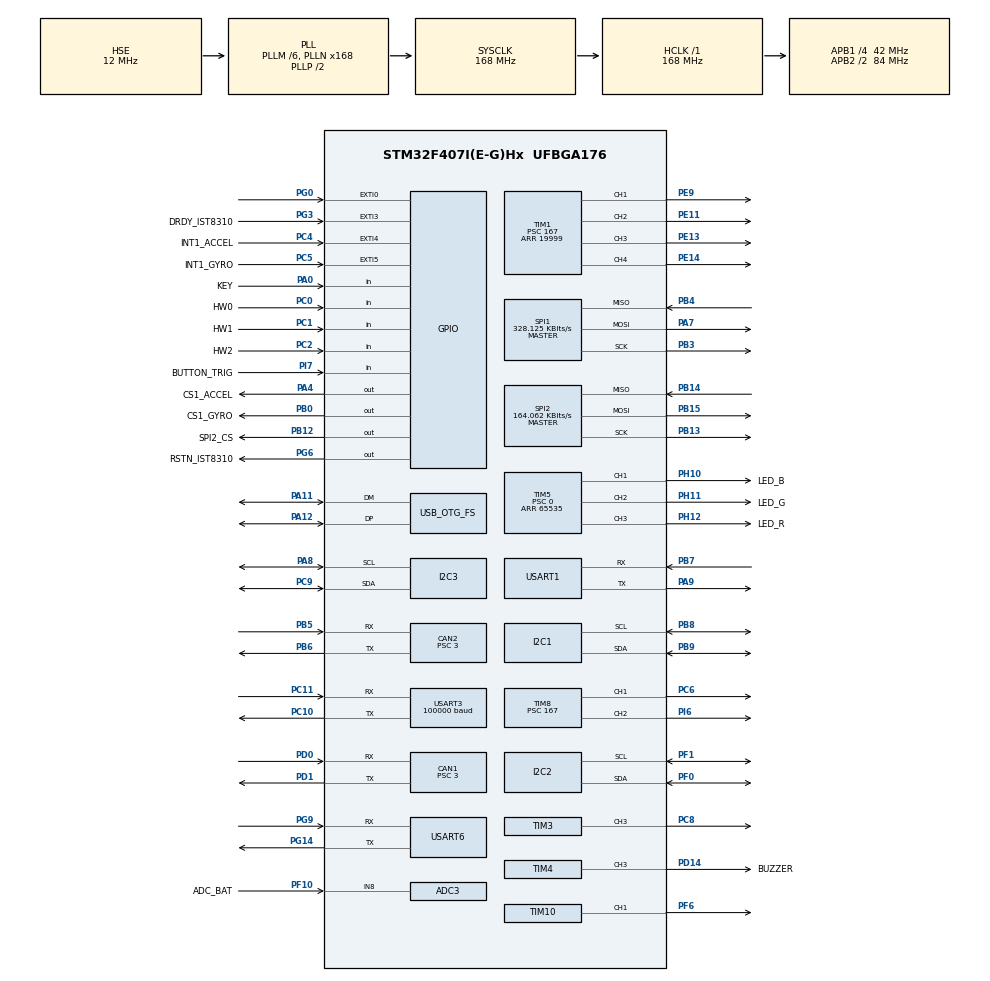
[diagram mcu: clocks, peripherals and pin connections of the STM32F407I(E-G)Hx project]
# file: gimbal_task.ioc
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ADC1.Channel-0\#ChannelRegularConversion=ADC_CHANNEL_TEMPSENSOR
ADC1.ClockPrescaler=ADC_CLOCK_SYNC_PCLK_DIV6
ADC1.NbrOfConversionFlag=1
ADC1.Rank-0\#ChannelRegularConversion=1
ADC1.SamplingTime-0\#ChannelRegularConversion=ADC_SAMPLETIME_3CYCLES
ADC1.master=1
ADC3.Channel-0\#ChannelRegularConversion=ADC_CHANNEL_8
ADC3.ClockPrescaler=ADC_CLOCK_SYNC_PCLK_DIV6
ADC3.NbrOfConversionFlag=1
ADC3.Rank-0\#ChannelRegularConversion=1
ADC3.SamplingTime-0\#ChannelRegularConversion=ADC_SAMPLETIME_3CYCLES
CAN1.BS1=CAN_BS1_10TQ
CAN1.BS2=CAN_BS2_3TQ
CAN1.CalculateTimeQuantum=71.42857142857143
CAN1.Prescaler=3
CAN2.BS1=CAN_BS1_10TQ
CAN2.BS2=CAN_BS2_3TQ
CAN2.CalculateTimeQuantum=71.42857142857143
CAN2.Prescaler=3
Dma.I2C2_TX.2.Direction=DMA_MEMORY_TO_PERIPH
Dma.I2C2_TX.2.FIFOMode=DMA_FIFOMODE_DISABLE
Dma.I2C2_TX.2.Instance=DMA1_Stream7
Dma.I2C2_TX.2.MemDataAlignment=DMA_MDATAALIGN_BYTE
Dma.I2C2_TX.2.MemInc=DMA_MINC_ENABLE
Dma.I2C2_TX.2.Mode=DMA_NORMAL
Dma.I2C2_TX.2.PeriphDataAlignment=DMA_PDATAALIGN_BYTE
Dma.I2C2_TX.2.PeriphInc=DMA_PINC_DISABLE
Dma.I2C2_TX.2.Priority=DMA_PRIORITY_HIGH
Dma.Request0=SPI1_RX
Dma.Request1=SPI1_TX
Dma.Request2=I2C2_TX
Dma.Request3=USART3_RX
Dma.Request4=USART6_RX
Dma.Request5=USART6_TX
Dma.Request6=USART1_TX
Dma.SPI1_RX.0.Direction=DMA_PERIPH_TO_MEMORY
Dma.SPI1_RX.0.FIFOMode=DMA_FIFOMODE_DISABLE
Dma.SPI1_RX.0.Instance=DMA2_Stream2
Dma.SPI1_RX.0.MemDataAlignment=DMA_MDATAALIGN_BYTE
Dma.SPI1_RX.0.MemInc=DMA_MINC_ENABLE
Dma.SPI1_RX.0.Mode=DMA_NORMAL
Dma.SPI1_RX.0.PeriphDataAlignment=DMA_PDATAALIGN_BYTE
Dma.SPI1_RX.0.PeriphInc=DMA_PINC_DISABLE
Dma.SPI1_RX.0.Priority=DMA_PRIORITY_VERY_HIGH
Dma.SPI1_TX.1.Direction=DMA_MEMORY_TO_PERIPH
Dma.SPI1_TX.1.FIFOMode=DMA_FIFOMODE_DISABLE
Dma.SPI1_TX.1.Instance=DMA2_Stream3
Dma.SPI1_TX.1.MemDataAlignment=DMA_MDATAALIGN_BYTE
Dma.SPI1_TX.1.MemInc=DMA_MINC_ENABLE
Dma.SPI1_TX.1.Mode=DMA_NORMAL
Dma.SPI1_TX.1.PeriphDataAlignment=DMA_PDATAALIGN_BYTE
Dma.SPI1_TX.1.PeriphInc=DMA_PINC_DISABLE
Dma.SPI1_TX.1.Priority=DMA_PRIORITY_HIGH
Dma.USART1_TX.6.Direction=DMA_MEMORY_TO_PERIPH
Dma.USART1_TX.6.FIFOMode=DMA_FIFOMODE_DISABLE
Dma.USART1_TX.6.Instance=DMA2_Stream7
Dma.USART1_TX.6.MemDataAlignment=DMA_MDATAALIGN_BYTE
Dma.USART1_TX.6.MemInc=DMA_MINC_ENABLE
Dma.USART1_TX.6.Mode=DMA_NORMAL
Dma.USART1_TX.6.PeriphDataAlignment=DMA_PDATAALIGN_BYTE
Dma.USART1_TX.6.PeriphInc=DMA_PINC_DISABLE
Dma.USART1_TX.6.Priority=DMA_PRIORITY_MEDIUM
Dma.USART3_RX.3.Direction=DMA_PERIPH_TO_MEMORY
Dma.USART3_RX.3.FIFOMode=DMA_FIFOMODE_DISABLE
Dma.USART3_RX.3.Instance=DMA1_Stream1
Dma.USART3_RX.3.MemDataAlignment=DMA_MDATAALIGN_BYTE
Dma.USART3_RX.3.MemInc=DMA_MINC_ENABLE
Dma.USART3_RX.3.Mode=DMA_NORMAL
Dma.USART3_RX.3.PeriphDataAlignment=DMA_PDATAALIGN_BYTE
Dma.USART3_RX.3.PeriphInc=DMA_PINC_DISABLE
Dma.USART3_RX.3.Priority=DMA_PRIORITY_HIGH
Dma.USART6_RX.4.Direction=DMA_PERIPH_TO_MEMORY
Dma.USART6_RX.4.FIFOMode=DMA_FIFOMODE_DISABLE
Dma.USART6_RX.4.Instance=DMA2_Stream1
Dma.USART6_RX.4.MemDataAlignment=DMA_MDATAALIGN_BYTE
Dma.USART6_RX.4.MemInc=DMA_MINC_ENABLE
Dma.USART6_RX.4.Mode=DMA_NORMAL
Dma.USART6_RX.4.PeriphDataAlignment=DMA_PDATAALIGN_BYTE
Dma.USART6_RX.4.PeriphInc=DMA_PINC_DISABLE
Dma.USART6_RX.4.Priority=DMA_PRIORITY_HIGH
Dma.USART6_TX.5.Direction=DMA_MEMORY_TO_PERIPH
Dma.USART6_TX.5.FIFOMode=DMA_FIFOMODE_DISABLE
Dma.USART6_TX.5.Instance=DMA2_Stream6
Dma.USART6_TX.5.MemDataAlignment=DMA_MDATAALIGN_BYTE
Dma.USART6_TX.5.MemInc=DMA_MINC_ENABLE
Dma.USART6_TX.5.Mode=DMA_NORMAL
Dma.USART6_TX.5.PeriphDataAlignment=DMA_PDATAALIGN_BYTE
Dma.USART6_TX.5.PeriphInc=DMA_PINC_DISABLE
Dma.USART6_TX.5.Priority=DMA_PRIORITY_MEDIUM
FREERTOS.INCLUDE_eTaskGetState=1
FREERTOS.INCLUDE_pcTaskGetTaskName=1
FREERTOS.INCLUDE_uxTaskGetStackHighWaterMark=1
FREERTOS.INCLUDE_vTaskCleanUpResources=1
FREERTOS.INCLUDE_vTaskDelayUntil=1
FREERTOS.INCLUDE_xEventGroupSetBitFromISR=1
FREERTOS.INCLUDE_xQueueGetMutexHolder=1
FREERTOS.INCLUDE_xSemaphoreGetMutexHolder=1
FREERTOS.INCLUDE_xTaskAbortDelay=1
FREERTOS.INCLUDE_xTaskGetCurrentTaskHandle=1
FREERTOS.INCLUDE_xTaskGetHandle=1
FREERTOS.INCLUDE_xTimerPendFunctionCall=1
FREERTOS.Tasks01=test,24,128,test_task,As weak,NULL,Dynamic,NULL,NULL
FREERTOS.configTOTAL_HEAP_SIZE=24576
I2C1.I2C_Mode=I2C_Fast
I2C2.I2C_Mode=I2C_Fast
I2C3.I2C_Mode=I2C_Fast
Mcu.Family=STM32F4
Mcu.Name=STM32F407I(E-G)Hx
Mcu.Package=UFBGA176
NVIC.CAN1_RX0_IRQn=true\:6\:0\:true\:false\:true\:true\:true\:true\:true
NVIC.CAN2_RX0_IRQn=true\:6\:0\:true\:false\:true\:true\:true\:true\:true
NVIC.DMA1_Stream1_IRQn=true\:5\:0\:true\:false\:false\:true\:false\:false\:true
NVIC.DMA1_Stream7_IRQn=true\:5\:0\:true\:false\:false\:true\:false\:true\:true
NVIC.DMA2_Stream1_IRQn=true\:5\:0\:true\:false\:true\:true\:false\:true\:true
NVIC.DMA2_Stream2_IRQn=true\:5\:0\:true\:false\:false\:true\:false\:true\:true
NVIC.DMA2_Stream3_IRQn=true\:5\:0\:true\:false\:false\:true\:false\:true\:true
NVIC.DMA2_Stream6_IRQn=true\:5\:0\:true\:false\:true\:true\:false\:true\:true
NVIC.DMA2_Stream7_IRQn=true\:5\:0\:true\:false\:true\:true\:false\:true\:true
NVIC.EXTI0_IRQn=true\:6\:0\:true\:false\:true\:true\:true\:true\:true
NVIC.EXTI3_IRQn=true\:5\:0\:true\:false\:true\:true\:true\:true\:true
NVIC.EXTI4_IRQn=true\:5\:0\:true\:false\:true\:true\:true\:true\:true
NVIC.EXTI9_5_IRQn=true\:5\:0\:true\:false\:true\:true\:true\:true\:true
NVIC.OTG_FS_IRQn=true\:5\:0\:false\:false\:true\:true\:false\:true\:true
NVIC.PriorityGroup=NVIC_PRIORITYGROUP_4
NVIC.TIM2_IRQn=true\:5\:0\:false\:false\:true\:true\:true\:true\:true
NVIC.USART1_IRQn=true\:5\:0\:false\:false\:true\:true\:true\:true\:true
NVIC.USART3_IRQn=true\:4\:0\:true\:false\:false\:false\:true\:true\:true
NVIC.USART6_IRQn=true\:5\:0\:true\:false\:false\:true\:true\:true\:true
PA0-WKUP.GPIO_Label=KEY
PA0-WKUP.GPIO_PuPd=GPIO_PULLUP
PA0-WKUP.Signal=GPIO_Input
PA11.Mode=Device_Only
PA11.Signal=USB_OTG_FS_DM
PA12.Mode=Device_Only
PA12.Signal=USB_OTG_FS_DP
PA13.Mode=Serial_Wire
PA13.Signal=SYS_JTMS-SWDIO
PA14.Mode=Serial_Wire
PA14.Signal=SYS_JTCK-SWCLK
PA4.GPIO_Label=CS1_ACCEL
PA4.GPIO_PuPd=GPIO_PULLUP
PA4.GPIO_Speed=GPIO_SPEED_FREQ_HIGH
PA4.PinState=GPIO_PIN_SET
PA4.Signal=GPIO_Output
PA7.GPIO_PuPd=GPIO_PULLUP
PA7.Mode=Full_Duplex_Master
PA7.Signal=SPI1_MOSI
PA8.Mode=I2C
PA8.Signal=I2C3_SCL
PA9.Mode=Asynchronous
PA9.Signal=USART1_TX
PB0.GPIO_Label=CS1_GYRO
PB0.GPIO_PuPd=GPIO_PULLUP
PB0.GPIO_Speed=GPIO_SPEED_FREQ_HIGH
PB0.PinState=GPIO_PIN_SET
PB0.Signal=GPIO_Output
PB12.GPIO_Label=SPI2_CS
PB12.GPIO_PuPd=GPIO_PULLUP
PB12.GPIO_Speed=GPIO_SPEED_FREQ_MEDIUM
PB12.PinState=GPIO_PIN_SET
PB12.Signal=GPIO_Output
PB13.GPIO_PuPd=GPIO_PULLUP
PB13.Mode=Full_Duplex_Master
PB13.Signal=SPI2_SCK
PB14.GPIO_PuPd=GPIO_PULLUP
PB14.Mode=Full_Duplex_Master
PB14.Signal=SPI2_MISO
PB15.GPIO_PuPd=GPIO_PULLUP
PB15.Mode=Full_Duplex_Master
PB15.Signal=SPI2_MOSI
PB3.GPIO_PuPd=GPIO_PULLUP
PB3.Mode=Full_Duplex_Master
PB3.Signal=SPI1_SCK
PB4.GPIO_PuPd=GPIO_PULLUP
PB4.Mode=Full_Duplex_Master
PB4.Signal=SPI1_MISO
PB5.Mode=Slave
PB5.Signal=CAN2_RX
PB6.Mode=Slave
PB6.Signal=CAN2_TX
PB7.Mode=Asynchronous
PB7.Signal=USART1_RX
PB8.Mode=I2C
PB8.Signal=I2C1_SCL
PB9.Mode=I2C
PB9.Signal=I2C1_SDA
PC0.GPIO_Label=HW0
PC0.Signal=GPIO_Input
PC1.GPIO_Label=HW1
PC1.Signal=GPIO_Input
PC10.Mode=Asynchronous
PC10.Signal=USART3_TX
PC11.Mode=Asynchronous
PC11.Signal=USART3_RX
PC2.GPIO_Label=HW2
PC2.Signal=GPIO_Input
PC4.GPIO_Label=INT1_ACCEL
PC4.GPIO_ModeDefaultEXTI=GPIO_MODE_IT_FALLING
PC4.GPIO_PuPd=GPIO_PULLUP
PC4.Signal=GPXTI4
PC5.GPIO_Label=INT1_GYRO
PC5.GPIO_ModeDefaultEXTI=GPIO_MODE_IT_FALLING
PC5.GPIO_PuPd=GPIO_PULLUP
PC5.Signal=GPXTI5
PC6.GPIO_PuPd=GPIO_PULLUP
PC6.GPIO_Speed=GPIO_SPEED_FREQ_HIGH
PC6.Signal=S_TIM8_CH1
PC8.GPIO_PuPd=GPIO_PULLUP
PC8.GPIO_Speed=GPIO_SPEED_FREQ_HIGH
PC8.Signal=S_TIM3_CH3
PC9.Mode=I2C
PC9.Signal=I2C3_SDA
PD0.Mode=Master
PD0.Signal=CAN1_RX
PD1.Mode=Master
PD1.Signal=CAN1_TX
PD14.GPIO_Label=BUZZER
PD14.GPIO_PuPd=GPIO_PULLUP
PD14.GPIO_Speed=GPIO_SPEED_FREQ_VERY_HIGH
PD14.Signal=S_TIM4_CH3
PE11.GPIO_PuPd=GPIO_PULLUP
PE11.GPIO_Speed=GPIO_SPEED_FREQ_HIGH
PE11.Signal=S_TIM1_CH2
PE13.GPIO_PuPd=GPIO_PULLUP
PE13.GPIO_Speed=GPIO_SPEED_FREQ_HIGH
PE13.Signal=S_TIM1_CH3
PE14.GPIO_PuPd=GPIO_PULLUP
PE14.GPIO_Speed=GPIO_SPEED_FREQ_HIGH
PE14.Signal=S_TIM1_CH4
PE9.GPIO_PuPd=GPIO_PULLUP
PE9.GPIO_Speed=GPIO_SPEED_FREQ_HIGH
PE9.Signal=S_TIM1_CH1
PF0.Mode=I2C
PF0.Signal=I2C2_SDA
PF1.Mode=I2C
PF1.Signal=I2C2_SCL
PF10.GPIO_Label=ADC_BAT
PF10.Mode=IN8
PF10.Signal=ADC3_IN8
PF6.GPIO_PuPd=GPIO_PULLUP
PF6.GPIO_Speed=GPIO_SPEED_FREQ_HIGH
PF6.Signal=S_TIM10_CH1
PG0.GPIO_ModeDefaultEXTI=GPIO_MODE_IT_FALLING
PG0.GPIO_PuPd=GPIO_PULLUP
PG0.Signal=GPXTI0
PG14.Mode=Asynchronous
PG14.Signal=USART6_TX
PG3.GPIO_Label=DRDY_IST8310
PG3.GPIO_ModeDefaultEXTI=GPIO_MODE_IT_FALLING
PG3.GPIO_PuPd=GPIO_PULLUP
PG3.Signal=GPXTI3
PG6.GPIO_Label=RSTN_IST8310
PG6.GPIO_PuPd=GPIO_PULLUP
PG6.GPIO_Speed=GPIO_SPEED_FREQ_MEDIUM
PG6.PinState=GPIO_PIN_SET
PG6.Signal=GPIO_Output
PG9.Mode=Asynchronous
PG9.Signal=USART6_RX
PH0-OSC_IN.Mode=HSE-External-Oscillator
PH0-OSC_IN.Signal=RCC_OSC_IN
PH1-OSC_OUT.Mode=HSE-External-Oscillator
PH1-OSC_OUT.Signal=RCC_OSC_OUT
PH10.GPIO_Label=LED_B
PH10.GPIO_PuPd=GPIO_PULLUP
PH10.GPIO_Speed=GPIO_SPEED_FREQ_HIGH
PH10.Signal=S_TIM5_CH1
PH11.GPIO_Label=LED_G
PH11.GPIO_PuPd=GPIO_PULLUP
PH11.GPIO_Speed=GPIO_SPEED_FREQ_HIGH
PH11.Signal=S_TIM5_CH2
PH12.GPIO_Label=LED_R
PH12.GPIO_PuPd=GPIO_PULLUP
PH12.GPIO_Speed=GPIO_SPEED_FREQ_HIGH
PH12.Signal=S_TIM5_CH3
PI6.GPIO_PuPd=GPIO_PULLUP
PI6.GPIO_Speed=GPIO_SPEED_FREQ_HIGH
PI6.Signal=S_TIM8_CH2
PI7.GPIO_Label=BUTTON_TRIG
PI7.GPIO_PuPd=GPIO_PULLUP
PI7.Signal=GPIO_Input
ProjectManager.HeapSize=0x2000
ProjectManager.StackSize=0x2000
ProjectManager.TargetToolchain=CMake
RCC.48MHZClocksFreq_Value=48000000
RCC.AHBFreq_Value=168000000
RCC.APB1CLKDivider=RCC_HCLK_DIV4
RCC.APB1Freq_Value=42000000
RCC.APB1TimFreq_Value=84000000
RCC.APB2CLKDivider=RCC_HCLK_DIV2
RCC.APB2Freq_Value=84000000
RCC.APB2TimFreq_Value=168000000
RCC.CortexFreq_Value=168000000
RCC.HCLKFreq_Value=168000000
RCC.HSE_VALUE=12000000
RCC.HSI_VALUE=16000000
RCC.LSE_VALUE=32768
RCC.PLLM=6
RCC.PLLN=168
RCC.PLLQ=7
RCC.RCC_RTC_Clock_SourceVirtual=RCC_RTCCLKSOURCE_HSE_DIV30
RCC.RCC_RTC_Clock_Source_FROM_HSE=RCC_RTCCLKSOURCE_HSE_DIV30
RCC.SYSCLKFreq_VALUE=168000000
RCC.SYSCLKSource=RCC_SYSCLKSOURCE_PLLCLK
RCC.VCOOutputFreq_Value=336000000
RTC.AsynchPrediv=124
RTC.SynchPrediv=3199
SH.S_TIM10_CH1.0=TIM10_CH1,PWM Generation1 CH1
SH.S_TIM1_CH1.0=TIM1_CH1,PWM Generation1 CH1
SH.S_TIM1_CH2.0=TIM1_CH2,PWM Generation2 CH2
SH.S_TIM1_CH3.0=TIM1_CH3,PWM Generation3 CH3
SH.S_TIM1_CH4.0=TIM1_CH4,PWM Generation4 CH4
SH.S_TIM3_CH3.0=TIM3_CH3,PWM Generation3 CH3
SH.S_TIM4_CH3.0=TIM4_CH3,PWM Generation3 CH3
SH.S_TIM5_CH1.0=TIM5_CH1,PWM Generation1 CH1
SH.S_TIM5_CH2.0=TIM5_CH2,PWM Generation2 CH2
SH.S_TIM5_CH3.0=TIM5_CH3,PWM Generation3 CH3
SH.S_TIM8_CH1.0=TIM8_CH1,PWM Generation1 CH1
SH.S_TIM8_CH2.0=TIM8_CH2,PWM Generation2 CH2
SPI1.BaudRatePrescaler=SPI_BAUDRATEPRESCALER_256
SPI1.CLKPhase=SPI_PHASE_2EDGE
SPI1.CLKPolarity=SPI_POLARITY_HIGH
SPI1.CalculateBaudRate=328.125 KBits/s
SPI1.Direction=SPI_DIRECTION_2LINES
SPI1.Mode=SPI_MODE_MASTER
SPI1.VirtualType=VM_MASTER
SPI2.BaudRatePrescaler=SPI_BAUDRATEPRESCALER_256
SPI2.CLKPhase=SPI_PHASE_2EDGE
SPI2.CLKPolarity=SPI_POLARITY_HIGH
SPI2.CalculateBaudRate=164.062 KBits/s
SPI2.Direction=SPI_DIRECTION_2LINES
SPI2.Mode=SPI_MODE_MASTER
SPI2.VirtualType=VM_MASTER
TIM1.Channel-PWM\ Generation1\ CH1=TIM_CHANNEL_1
TIM1.Channel-PWM\ Generation2\ CH2=TIM_CHANNEL_2
TIM1.Channel-PWM\ Generation3\ CH3=TIM_CHANNEL_3
TIM1.Channel-PWM\ Generation4\ CH4=TIM_CHANNEL_4
TIM1.Period=19999
TIM1.Prescaler=167
TIM1.Pulse-PWM\ Generation1\ CH1=1000
TIM1.Pulse-PWM\ Generation2\ CH2=1000
TIM1.Pulse-PWM\ Generation3\ CH3=1000
TIM1.Pulse-PWM\ Generation4\ CH4=1000
TIM10.Channel=TIM_CHANNEL_1
TIM10.Period=4999
TIM2.Period=999
TIM2.Prescaler=167
TIM3.Channel-PWM\ Generation3\ CH3=TIM_CHANNEL_3
TIM3.Period=8399
TIM4.Channel-PWM\ Generation3\ CH3=TIM_CHANNEL_3
TIM4.Period=65535
TIM4.Prescaler=167
TIM5.Channel-PWM\ Generation1\ CH1=TIM_CHANNEL_1
TIM5.Channel-PWM\ Generation2\ CH2=TIM_CHANNEL_2
TIM5.Channel-PWM\ Generation3\ CH3=TIM_CHANNEL_3
TIM5.Period=65535
TIM5.Prescaler=0
TIM8.Channel-PWM\ Generation1\ CH1=TIM_CHANNEL_1
TIM8.Channel-PWM\ Generation2\ CH2=TIM_CHANNEL_2
TIM8.Period=19999
TIM8.Prescaler=167
TIM8.Pulse-PWM\ Generation1\ CH1=1000
TIM8.Pulse-PWM\ Generation2\ CH2=1000
USART1.VirtualMode=VM_ASYNC
USART3.BaudRate=100000
USART3.Parity=PARITY_EVEN
USART3.VirtualMode=VM_ASYNC
USART6.VirtualMode=VM_ASYNC
USB_DEVICE.CLASS_NAME_FS=CDC
USB_DEVICE.VirtualMode-CDC_FS=Cdc
USB_DEVICE.VirtualModeFS=Cdc_FS
USB_OTG_FS.VirtualMode=Device_Only
VP_ADC1_TempSens_Input.Mode=IN-TempSens
VP_ADC1_Vref_Input.Mode=IN-Vrefint
VP_CRC_VS_CRC.Mode=CRC_Activate
VP_FREERTOS_VS_CMSIS_V1.Mode=CMSIS_V1
VP_RNG_VS_RNG.Mode=RNG_Activate
VP_RTC_VS_RTC_Activate.Mode=RTC_Enabled
VP_TIM10_VS_ClockSourceINT.Mode=Enable_Timer
VP_TIM1_VS_ClockSourceINT.Mode=Internal
VP_TIM2_VS_ClockSourceINT.Mode=Internal
VP_TIM3_VS_ClockSourceINT.Mode=Internal
VP_TIM4_VS_ClockSourceINT.Mode=Internal
VP_TIM5_VS_ClockSourceINT.Mode=Internal
VP_TIM8_VS_ClockSourceINT.Mode=Internal
VP_USB_DEVICE_VS_USB_DEVICE_CDC_FS.Mode=CDC_FS
board=custom

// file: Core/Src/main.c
/* USER CODE BEGIN Header */
/**
  ******************************************************************************
  * @file           : main.c
  * @brief          : Main program body
  ******************************************************************************
  * @attention
  *
  * <h2><center>&copy; Copyright (c) 2019 STMicroelectronics.
  * All rights reserved.</center></h2>
  *
  * This software component is licensed by ST under Ultimate Liberty license
  * SLA0044, the "License"; You may not use this file except in compliance with
  * the License. You may obtain a copy of the License at:
  *                             www.st.com/SLA0044
  *
  ******************************************************************************
  */
/* USER CODE END Header */

#include "main.h"
#include "cmsis_os.h"
#include "adc.h"
#include "can.h"
#include "crc.h"
#include "dma.h"
#include "i2c.h"
#include "rng.h"
#include "rtc.h"
#include "spi.h"
#include "tim.h"
#include "usart.h"
#include "usb_device.h"
#include "gpio.h"

/* USER CODE BEGIN Includes */

////////////////////////////////////////////////////////////////////
//                          _ooOoo_                               //
//                         o8888888o                              //
//                         88" . "88                              //
//                         (| -_- |)                              //
//                         O\  =  /O                              //
//                      ____/`---'\____                           //
//                    .'  \\|     |//  `.                         //
//                   /  \\|||  :  |||//  \                        //
//                  /  _||||| -:- |||||-  \                       //
//                  |   | \\\  -  /// |   |                       //
//                  | \_|  ''\---/''  |   |                       //
//                  \  .-\__  `-`  ___/-. /                       //
//                ___`. .'  /--.--\  `. . ___                     //
//              ."" '<  `.___\_<|>_/___.'  >'"".                  //
//            | | :  `- \`.;`\ _ /`;.`/ - ` : | |                 //
//            \  \ `-.   \_ __\ /__ _/   .-` /  /                 //
//      ========`-.____`-.___\_____/___.-`____.-'========         //
//                           `=---='                              //
//      ^^^^^^^^^^^^^^^^^^^^^^^^^^^^^^^^^^^^^^^^^^^^^^^^^^        //
//         佛祖保佑       永无ERROR     永不修改                    //
////////////////////////////////////////////////////////////////////

#include "bsp_can.h"
#include "bsp_delay.h"
#include "remote_control.h"
#include "detect_task.h"
#include "gimbal_task.h"
#include "INS_task.h"
#include "led_flow_task.h"
#include "bsp_dwt.h"

#include "CAN_receive.h"
/* USER CODE END Includes */

/* USER CODE BEGIN PV */

//void  HAL_TIM_PeriodElapsedCallback(TIM_HandleTypeDef *htim)
//{
//	CAN_read_lkmotor_state();
//}

/* USER CODE END PV */

void SystemClock_Config(void);
void MX_FREERTOS_Init(void);

int main(void)
{

  /* MCU Configuration--------------------------------------------------------*/

  /* Reset of all peripherals, Initializes the Flash interface and the Systick. */

  	HAL_Init();

  /* Configure the system clock */
  SystemClock_Config();

  /* Initialize all configured peripherals */
  MX_GPIO_Init();
  MX_DMA_Init();
  MX_ADC1_Init();
  MX_ADC3_Init();
  MX_CAN1_Init();
  MX_CAN2_Init();
  MX_I2C1_Init();
  MX_SPI1_Init();
  MX_TIM4_Init();
  MX_TIM5_Init();
  MX_USART3_UART_Init();
  MX_TIM8_Init();
  MX_CRC_Init();
  MX_RNG_Init();
  MX_I2C2_Init();
  MX_I2C3_Init();
  MX_RTC_Init();
  MX_SPI2_Init();
  MX_TIM1_Init();
  MX_TIM3_Init();
  MX_TIM10_Init();
  MX_USART1_UART_Init();
  MX_USART6_UART_Init();
  MX_TIM2_Init();
  MX_USB_DEVICE_Init();       //虚拟串口初始化
  /* USER CODE BEGIN 2 */

  HAL_TIM_Base_Start_IT(&htim2);

  can_filter_init();
  delay_init();
  remote_control_init();
  DWT_Init(168);
  while (BMI088_init(&hspi1, 1) != BMI088_NO_ERROR);
  INS_Init();
  /* USER CODE END 2 */

  /* Call init function for freertos objects (in freertos.c) */
  MX_FREERTOS_Init();

  /* Start scheduler */
  osKernelStart();

  /* We should never get here as control is now taken by the scheduler */

  /* Infinite loop */
  while (1)
  {

  }
}

void SystemClock_Config(void)
{
  RCC_OscInitTypeDef RCC_OscInitStruct = {0};
  RCC_ClkInitTypeDef RCC_ClkInitStruct = {0};
  RCC_PeriphCLKInitTypeDef PeriphClkInitStruct = {0};

  /** Configure the main internal regulator output voltage
   */
  __HAL_RCC_PWR_CLK_ENABLE();
  __HAL_PWR_VOLTAGESCALING_CONFIG(PWR_REGULATOR_VOLTAGE_SCALE1);
  /** Initializes the CPU, AHB and APB busses clocks
   */
  RCC_OscInitStruct.OscillatorType = RCC_OSCILLATORTYPE_HSE;
  RCC_OscInitStruct.HSEState = RCC_HSE_ON;
  RCC_OscInitStruct.PLL.PLLState = RCC_PLL_ON;
  RCC_OscInitStruct.PLL.PLLSource = RCC_PLLSOURCE_HSE;
  RCC_OscInitStruct.PLL.PLLM = 6;
  RCC_OscInitStruct.PLL.PLLN = 168;
  RCC_OscInitStruct.PLL.PLLP = RCC_PLLP_DIV2;
  RCC_OscInitStruct.PLL.PLLQ = 7;
  if (HAL_RCC_OscConfig(&RCC_OscInitStruct) != HAL_OK)
  {
    Error_Handler();
  }
  /** Initializes the CPU, AHB and APB busses clocks
   */
  RCC_ClkInitStruct.ClockType = RCC_CLOCKTYPE_HCLK | RCC_CLOCKTYPE_SYSCLK | RCC_CLOCKTYPE_PCLK1 | RCC_CLOCKTYPE_PCLK2;
  RCC_ClkInitStruct.SYSCLKSource = RCC_SYSCLKSOURCE_PLLCLK;
  RCC_ClkInitStruct.AHBCLKDivider = RCC_SYSCLK_DIV1;
  RCC_ClkInitStruct.APB1CLKDivider = RCC_HCLK_DIV4;
  RCC_ClkInitStruct.APB2CLKDivider = RCC_HCLK_DIV2;

  if (HAL_RCC_ClockConfig(&RCC_ClkInitStruct, FLASH_LATENCY_5) != HAL_OK)
  {
    Error_Handler();
  }
  PeriphClkInitStruct.PeriphClockSelection = RCC_PERIPHCLK_RTC;
  PeriphClkInitStruct.RTCClockSelection = RCC_RTCCLKSOURCE_HSE_DIV30;
  if (HAL_RCCEx_PeriphCLKConfig(&PeriphClkInitStruct) != HAL_OK)
  {
    Error_Handler();
  }
}

void Error_Handler(void)
{
}

/************************ (C) COPYRIGHT STMicroelectronics *****END OF FILE****/
